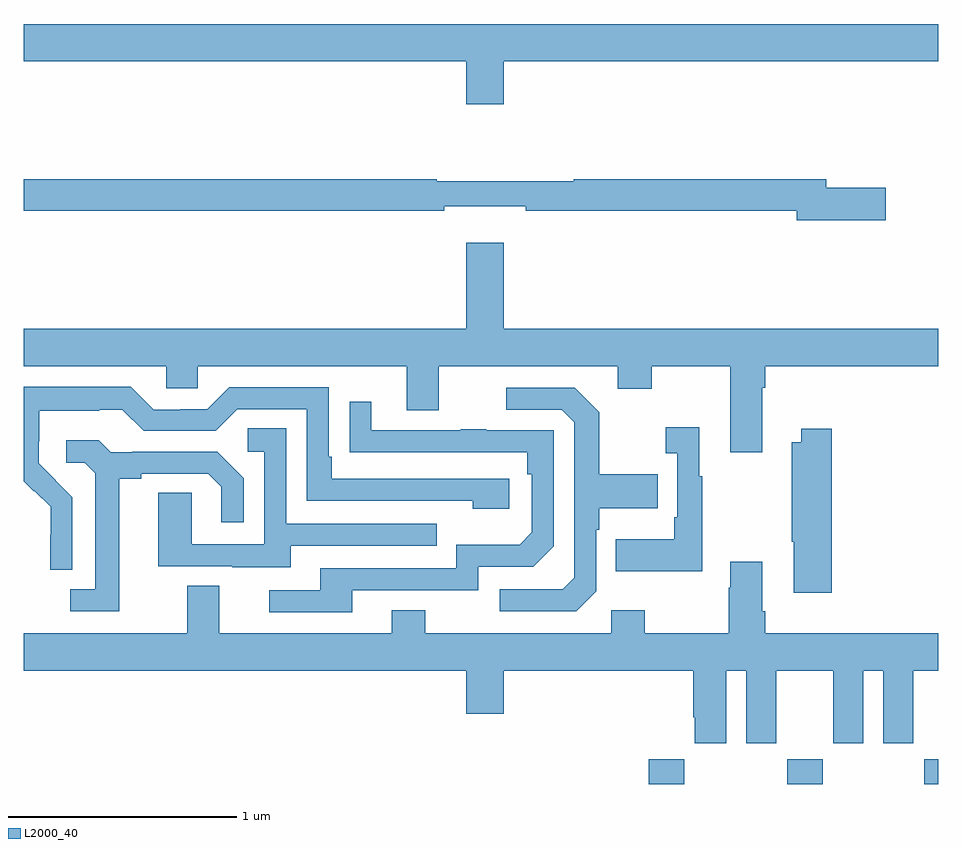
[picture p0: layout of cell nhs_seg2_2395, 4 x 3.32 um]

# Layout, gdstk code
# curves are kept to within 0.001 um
import gdstk
lib = gdstk.Library(unit=1e-6, precision=1e-09)
def R(c, l, rs):  # rectangles x0, y0, x1, y1
    for r in rs: c.add(gdstk.rectangle(r[:2], r[2:], *l))
def P(c, l, *ps):  # polygons
    for p in ps: c.add(gdstk.Polygon(p, *l))
L2000_40 = (2000, 40)

nhs_seg2_2395 = lib.new_cell('nhs_seg2_2395')
R(nhs_seg2_2395, L2000_40, [(237.734,653.8,237.889,653.908), (238.339,653.8,238.494,653.908), (238.939,653.8,239,653.908)])
P(nhs_seg2_2395, L2000_40, [(237.1,656.96),(239,656.96),(239,657.124),(235,657.124),(235,656.96),(236.936,656.96),(236.936,656.772),(237.1,656.772)],
  [(238.771,656.408),(238.51,656.408),(238.51,656.444),(237.406,656.444),(237.406,656.437),(236.806,656.437),(236.806,656.444),(235,656.444),(235,656.308),(236.84,656.308),(236.84,656.327),(237.196,656.327),(237.196,656.308),(238.382,656.308),(238.382,656.266),(238.771,656.266)],
  [(238.231,655.532),(238.244,655.532),(238.244,655.628),(239,655.628),(239,655.792),(237.1,655.792),(237.1,656.167),(236.936,656.167),(236.936,655.792),(235,655.792),(235,655.628),(235.623,655.628),(235.623,655.53),(235.761,655.53),(235.761,655.628),(236.675,655.628),(236.675,655.434),(236.815,655.434),(236.815,655.628),(237.599,655.628),(237.599,655.529),(237.747,655.529),(237.747,655.628),(238.091,655.628),(238.091,655.251),(238.231,655.251)],
  [(235.212,655.054),(235.066,655.202),(235.066,655.299),(235.068,655.299),(235.068,655.433),(235.331,655.433),(235.331,655.437),(235.431,655.437),(235.524,655.344),(235.839,655.344),(235.935,655.44),(236.238,655.44),(236.238,655.038),(236.963,655.038),(236.963,655.004),(237.124,655.004),(237.124,655.134),(236.347,655.134),(236.347,655.231),(236.334,655.231),(236.334,655.536),(235.899,655.536),(235.803,655.44),(235.685,655.44),(235.685,655.437),(235.569,655.437),(235.469,655.537),(235,655.537),(235,655.124),(235.044,655.08),(235.047,655.083),(235.118,655.013),(235.118,654.89),(235.116,654.89),(235.116,654.736),(235.212,654.736)],
  [(237.504,654.642),(237.504,654.911),(237.517,654.911),(237.517,655.007),(237.773,655.007),(237.773,655.155),(237.517,655.155),(237.517,655.427),(237.411,655.533),(237.111,655.533),(237.111,655.437),(237.354,655.437),(237.408,655.383),(237.408,654.702),(237.357,654.651),(237.081,654.651),(237.081,654.555),(237.417,654.555)],
  [(236.437,654.648),(236.988,654.648),(236.988,654.75),(237.228,654.75),(237.318,654.84),(237.318,655.347),(237.023,655.347),(237.023,655.352),(236.911,655.352),(236.911,655.347),(236.521,655.347),(236.521,655.471),(236.425,655.471),(236.425,655.252),(237.202,655.251),(237.202,655.154),(237.222,655.154),(237.222,654.9),(237.169,654.847),(236.892,654.847),(236.892,654.744),(236.297,654.744),(236.297,654.648),(236.073,654.648),(236.073,654.552),(236.437,654.552)],
  [(237.967,655.147),(237.955,655.147),(237.955,655.36),(237.807,655.36),(237.807,655.247),(237.858,655.247),(237.858,654.967),(237.846,654.967),(237.846,654.871),(237.589,654.871),(237.589,654.731),(237.967,654.731)],
  [(236.167,654.843),(236.807,654.843),(236.807,654.939),(236.148,654.939),(236.148,655.355),(235.98,655.355),(235.98,655.254),(236.052,655.254),(236.052,654.849),(235.734,654.849),(235.734,655.073),(235.589,655.073),(235.589,654.753),(235.913,654.753),(235.913,654.749),(236.167,654.749)],
  [(238.535,655.354),(238.4,655.354),(238.4,655.294),(238.36,655.294),(238.36,654.859),(238.367,654.859),(238.367,654.636),(238.535,654.636)],
  [(235.417,655.136),(235.513,655.136),(235.513,655.158),(235.808,655.158),(235.865,655.101),(235.865,654.945),(235.962,654.945),(235.962,655.138),(235.846,655.254),(235.474,655.254),(235.474,655.251),(235.38,655.251),(235.328,655.303),(235.185,655.303),(235.185,655.206),(235.266,655.206),(235.313,655.159),(235.313,654.651),(235.203,654.651),(235.203,654.555),(235.417,654.555)],
  [(238.072,654.296),(238.16,654.296),(238.16,653.979),(238.291,653.979),(238.291,654.296),(238.541,654.296),(238.541,653.979),(238.672,653.979),(238.672,654.296),(238.76,654.296),(238.76,653.979),(238.891,653.979),(238.891,654.296),(239,654.296),(239,654.46),(238.244,654.46),(238.244,654.556),(238.231,654.556),(238.231,654.772),(238.091,654.772),(238.091,654.659),(238.084,654.659),(238.084,654.46),(237.717,654.46),(237.717,654.559),(237.57,654.559),(237.57,654.46),(236.757,654.46),(236.757,654.559),(236.609,654.559),(236.609,654.46),(235.855,654.46),(235.855,654.668),(235.715,654.668),(235.715,654.46),(235,654.46),(235,654.296),(236.936,654.296),(236.936,654.108),(237.1,654.108),(237.1,654.296),(237.929,654.296),(237.929,654.091),(237.935,654.091),(237.935,653.979),(238.072,653.979)])

lib.write_gds('nhs_seg2_2395.gds')
